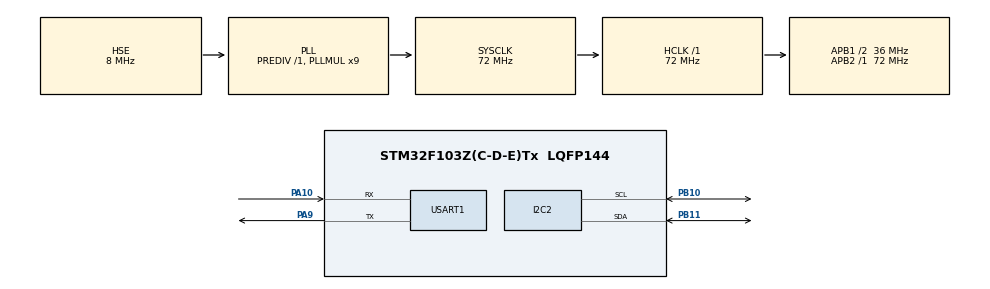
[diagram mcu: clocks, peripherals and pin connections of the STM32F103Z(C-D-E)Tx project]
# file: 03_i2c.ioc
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Mcu.Family=STM32F1
Mcu.Name=STM32F103Z(C-D-E)Tx
Mcu.Package=LQFP144
NVIC.PriorityGroup=NVIC_PRIORITYGROUP_4
OSC_IN.Mode=HSE-External-Oscillator
OSC_IN.Signal=RCC_OSC_IN
OSC_OUT.Mode=HSE-External-Oscillator
OSC_OUT.Signal=RCC_OSC_OUT
PA10.Mode=Asynchronous
PA10.Signal=USART1_RX
PA13.Mode=Serial_Wire
PA13.Signal=SYS_JTMS-SWDIO
PA14.Mode=Serial_Wire
PA14.Signal=SYS_JTCK-SWCLK
PA9.Mode=Asynchronous
PA9.Signal=USART1_TX
PB10.Mode=I2C
PB10.Signal=I2C2_SCL
PB11.Mode=I2C
PB11.Signal=I2C2_SDA
PC14-OSC32_IN.Mode=LSE-External-Oscillator
PC14-OSC32_IN.Signal=RCC_OSC32_IN
PC15-OSC32_OUT.Mode=LSE-External-Oscillator
PC15-OSC32_OUT.Signal=RCC_OSC32_OUT
ProjectManager.HeapSize=0x200
ProjectManager.StackSize=0x400
ProjectManager.TargetToolchain=CMake
RCC.AHBFreq_Value=72000000
RCC.APB1CLKDivider=RCC_HCLK_DIV2
RCC.APB1Freq_Value=36000000
RCC.APB1TimFreq_Value=72000000
RCC.APB2Freq_Value=72000000
RCC.APB2TimFreq_Value=72000000
RCC.HCLKFreq_Value=72000000
RCC.PLLMUL=RCC_PLL_MUL9
RCC.PLLSourceVirtual=RCC_PLLSOURCE_HSE
RCC.SYSCLKFreq_VALUE=72000000
RCC.SYSCLKSource=RCC_SYSCLKSOURCE_PLLCLK
RCC.USBFreq_Value=72000000
USART1.VirtualMode=VM_ASYNC
board=custom

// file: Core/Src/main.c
/* USER CODE BEGIN Header */
/**
  ******************************************************************************
  * @file           : main.c
  * @brief          : 主程序入口
  ******************************************************************************
  * @attention
  *
  * Copyright (c) 2026 STMicroelectronics.
  * 保留所有权利。
  *
  * 本软件遵循可在软件根目录的 LICENSE 文件中找到的条款进行授权。
  * 若软件未随附 LICENSE 文件，则按“原样”提供。
  *
  ******************************************************************************
  */
/* USER CODE END Header */
#include "main.h"
#include "i2c.h"
#include "usart.h"
#include "gpio.h"

/* USER CODE BEGIN Includes */
#include <stdio.h>
#include "m24c02.h"
/* USER CODE END Includes */

void SystemClock_Config(void);

/**
  * @brief  应用程序入口。
  * @retval int
  */
int main(void)
{

  /* MCU 配置--------------------------------------------------------*/

  /* 复位所有外设，初始化 Flash 接口与 Systick。 */
  HAL_Init();

  /* 配置系统时钟 */
  SystemClock_Config();

  /* 初始化所有已配置的外设 */
  MX_GPIO_Init();
  MX_I2C2_Init();
  MX_USART1_UART_Init();
  /* USER CODE BEGIN 2 */
  {
      /* ---- M24C02 示例：写入一页并读回 ---- */
      uint8_t tx_buf[M24C02_PAGE_SIZE];
      uint8_t rx_buf[M24C02_PAGE_SIZE];
      uint16_t test_addr = 0x10U;
      HAL_StatusTypeDef st;
      uint32_t i;

      /* 准备测试数据 */
      for (i = 0; i < M24C02_PAGE_SIZE; i++)
      {
          tx_buf[i] = (uint8_t)(0xA0U + i);
      }

      /* 首先探测设备 */
      st = M24C02_Init();
      printf("M24C02_Init   -> %s\r\n",
             (st == HAL_OK) ? "OK"   :
             (st == HAL_TIMEOUT) ? "TIMEOUT" : "ERROR");

      /* 单字节写入示例 */
      st = M24C02_WriteByte(0x00U, 0x5AU);
      printf("WriteByte 0x00=0x5A -> %s\r\n",
             (st == HAL_OK) ? "OK" : "FAIL");

      /* 单字节读取示例 */
      {
          uint8_t v = 0;
          st = M24C02_ReadByte(0x00U, &v);
          printf("ReadByte  0x00   = 0x%02X (%s)\r\n", v,
                 (st == HAL_OK) ? "OK" : "FAIL");
      }

      /* 页写入示例 */
      st = M24C02_WritePage(test_addr, tx_buf, M24C02_PAGE_SIZE);
      printf("WritePage 0x%02X, %u bytes -> %s\r\n",
             test_addr, M24C02_PAGE_SIZE,
             (st == HAL_OK) ? "OK" : "FAIL");

      /* 顺序读取示例 */
      st = M24C02_ReadBuffer(test_addr, rx_buf, M24C02_PAGE_SIZE);
      printf("ReadBuffer 0x%02X, %u bytes -> %s\r\n",
             test_addr, M24C02_PAGE_SIZE,
             (st == HAL_OK) ? "OK" : "FAIL");

      /* 打印读回的字节 */
      printf("RX: ");
      for (i = 0; i < M24C02_PAGE_SIZE; i++)
      {
          printf("%02X ", rx_buf[i]);
      }
      printf("\r\n");
  }
  /* USER CODE END 2 */

  /* 无限循环 */
  while (1)
  {

  }
}

/**
  * @brief 系统时钟配置
  * @retval None
  */
void SystemClock_Config(void)
{
  RCC_OscInitTypeDef RCC_OscInitStruct = {0};
  RCC_ClkInitTypeDef RCC_ClkInitStruct = {0};

  /** 根据 RCC_OscInitTypeDef 结构体中的指定参数初始化 RCC 振荡器。
  */
  RCC_OscInitStruct.OscillatorType = RCC_OSCILLATORTYPE_HSE;
  RCC_OscInitStruct.HSEState = RCC_HSE_ON;
  RCC_OscInitStruct.HSEPredivValue = RCC_HSE_PREDIV_DIV1;
  RCC_OscInitStruct.HSIState = RCC_HSI_ON;
  RCC_OscInitStruct.PLL.PLLState = RCC_PLL_ON;
  RCC_OscInitStruct.PLL.PLLSource = RCC_PLLSOURCE_HSE;
  RCC_OscInitStruct.PLL.PLLMUL = RCC_PLL_MUL9;
  if (HAL_RCC_OscConfig(&RCC_OscInitStruct) != HAL_OK)
  {
    Error_Handler();
  }

  /** 初始化 CPU、AHB 和 APB 总线时钟。
  */
  RCC_ClkInitStruct.ClockType = RCC_CLOCKTYPE_HCLK|RCC_CLOCKTYPE_SYSCLK
                              |RCC_CLOCKTYPE_PCLK1|RCC_CLOCKTYPE_PCLK2;
  RCC_ClkInitStruct.SYSCLKSource = RCC_SYSCLKSOURCE_PLLCLK;
  RCC_ClkInitStruct.AHBCLKDivider = RCC_SYSCLK_DIV1;
  RCC_ClkInitStruct.APB1CLKDivider = RCC_HCLK_DIV2;
  RCC_ClkInitStruct.APB2CLKDivider = RCC_HCLK_DIV1;

  if (HAL_RCC_ClockConfig(&RCC_ClkInitStruct, FLASH_LATENCY_2) != HAL_OK)
  {
    Error_Handler();
  }
}

/* USER CODE BEGIN 4 */

/**
  * @brief  将 printf() / puts() 重定向到 UART1（由 syscalls.c 调用）。
  * @param  ch : 待发送的字符。
  * @retval 成功时返回相同字符。
  */
int __io_putchar(int ch)
{
    uint8_t c = (uint8_t)ch;
    HAL_UART_Transmit(&huart1, &c, 1U, M24C02_IO_TIMEOUT_MS);
    return ch;
}

/* USER CODE END 4 */

/**
  * @brief  当发生错误时执行该函数。
  * @retval None
  */
void Error_Handler(void)
{
  /* USER CODE BEGIN Error_Handler_Debug */
  /* 用户可在此添加自己的实现，用于上报 HAL 错误返回状态 */
  __disable_irq();
  while (1)
  {
  }
  /* USER CODE END Error_Handler_Debug */
}
#ifdef USE_FULL_ASSERT
/**
  * @brief  上报 assert_param 错误所在的源文件名称与行号。
  * @param  file: 源文件名称指针
  * @param  line: assert_param 错误所在行号
  * @retval None
  */
void assert_failed(uint8_t *file, uint32_t line)
{
  /* USER CODE BEGIN 6 */
  /* 用户可在此添加自己的实现，用于上报文件名与行号，
     例如：printf("参数错误：文件 %s 第 %d 行\r\n", file, line) */
  /* USER CODE END 6 */
}
#endif /* USE_FULL_ASSERT */
